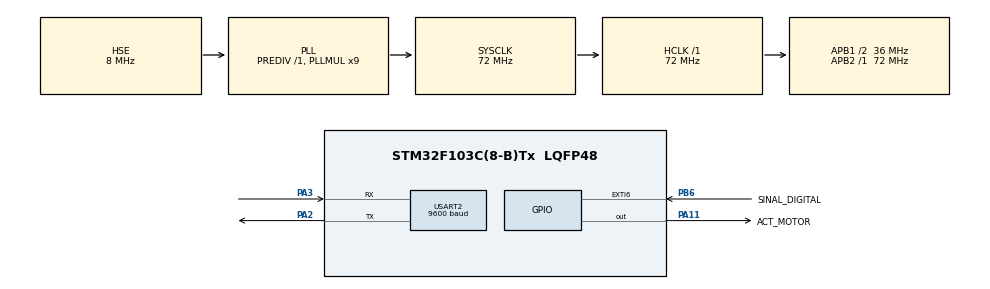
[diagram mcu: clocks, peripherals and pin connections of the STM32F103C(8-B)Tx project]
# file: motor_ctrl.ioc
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Mcu.Family=STM32F1
Mcu.Name=STM32F103C(8-B)Tx
Mcu.Package=LQFP48
NVIC.PriorityGroup=NVIC_PRIORITYGROUP_4
NVIC.TIM2_IRQn=true\:0\:0\:false\:false\:true\:true\:true\:true
PA11.GPIO_Label=ACT_MOTOR
PA11.Signal=GPIO_Output
PA2.Mode=Asynchronous
PA2.Signal=USART2_TX
PA3.Mode=Asynchronous
PA3.Signal=USART2_RX
PB6.GPIO_Label=SINAL_DIGITAL
PB6.GPIO_ModeDefaultEXTI=GPIO_MODE_IT_FALLING
PB6.Signal=GPXTI6
PD0-OSC_IN.Mode=HSE-External-Oscillator
PD0-OSC_IN.Signal=RCC_OSC_IN
PD1-OSC_OUT.Mode=HSE-External-Oscillator
PD1-OSC_OUT.Signal=RCC_OSC_OUT
ProjectManager.HeapSize=0x200
ProjectManager.StackSize=0x400
ProjectManager.TargetToolchain=CMake
RCC.AHBFreq_Value=72000000
RCC.APB1CLKDivider=RCC_HCLK_DIV2
RCC.APB1Freq_Value=36000000
RCC.APB1TimFreq_Value=72000000
RCC.APB2Freq_Value=72000000
RCC.APB2TimFreq_Value=72000000
RCC.HCLKFreq_Value=72000000
RCC.PLLMUL=RCC_PLL_MUL9
RCC.PLLSourceVirtual=RCC_PLLSOURCE_HSE
RCC.SYSCLKFreq_VALUE=72000000
RCC.SYSCLKSource=RCC_SYSCLKSOURCE_PLLCLK
RCC.USBFreq_Value=72000000
TIM2.Period=10000-1
TIM2.Prescaler=7200-1
USART2.BaudRate=9600
USART2.VirtualMode=VM_ASYNC
VP_SYS_VS_ND.Mode=No_Debug
VP_TIM2_VS_ClockSourceINT.Mode=Internal
board=custom

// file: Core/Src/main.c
/* USER CODE BEGIN Header */
/**
  ******************************************************************************
  * @file           : main.c
  * @brief          : Main program body
  ******************************************************************************
  * @attention
  *
  * Copyright (c) 2026 STMicroelectronics.
  * All rights reserved.
  *
  * This software is licensed under terms that can be found in the LICENSE file
  * in the root directory of this software component.
  * If no LICENSE file comes with this software, it is provided AS-IS.
  *
  ******************************************************************************
  */
/* USER CODE END Header */
#include "main.h"
#include "stm32f1xx_hal_uart.h"

/* USER CODE BEGIN PD */
#define MOTOR_ON  HAL_GPIO_WritePin(ACT_MOTOR_GPIO_Port, ACT_MOTOR_Pin, GPIO_PIN_SET)
#define MOTOR_OFF HAL_GPIO_WritePin(ACT_MOTOR_GPIO_Port, ACT_MOTOR_Pin, GPIO_PIN_RESET)
/* USER CODE END PD */

TIM_HandleTypeDef htim2;

UART_HandleTypeDef huart2;

/* USER CODE BEGIN PV */
uint8_t timeout = 0;
/* USER CODE END PV */

void SystemClock_Config(void);
static void MX_GPIO_Init(void);
static void MX_TIM2_Init(void);
static void MX_USART2_UART_Init(void);

/* USER CODE BEGIN 0 */
void HAL_TIM_PeriodElapsedCallback(TIM_HandleTypeDef *htim){
  if (htim->Instance == TIM2){ // Check if the interrupt is from TIM2
    if(++timeout == 10){  // 10 periods of 1 second each = 10 seconds
      HAL_UART_Transmit(&huart2, "Motor OFF", 9, HAL_MAX_DELAY);
      HAL_TIM_Base_Stop_IT(&htim2); // Stop TIM2 interrupt
      MOTOR_OFF;    // Deactivate motor
      timeout = 0;  // Reset timeout counter
    }
  }
}

void HAL_GPIO_EXTI_Callback(uint16_t GPIO_Pin){
  if (GPIO_Pin == SINAL_DIGITAL_Pin){ // Check if the interrupt is from SINAL_DIGITAL pin
    timeout = 0; // Reset timeout counter
    HAL_TIM_Base_Start_IT(&htim2); // Start TIM2 in interrupt mode
    HAL_UART_Transmit(&huart2, "Motor ON", 8, HAL_MAX_DELAY);
    MOTOR_ON; // Activate motor
  }
}
/* USER CODE END 0 */

int main(void)
{

  /* MCU Configuration--------------------------------------------------------*/

  /* Reset of all peripherals, Initializes the Flash interface and the Systick. */
  HAL_Init();

  /* Configure the system clock */
  SystemClock_Config();

  /* Initialize all configured peripherals */
  MX_GPIO_Init();
  MX_TIM2_Init();
  MX_USART2_UART_Init();

  /* Infinite loop */
  while (1)
  {

  }
}

void SystemClock_Config(void)
{
  RCC_OscInitTypeDef RCC_OscInitStruct = {0};
  RCC_ClkInitTypeDef RCC_ClkInitStruct = {0};

  /** Initializes the RCC Oscillators according to the specified parameters
  * in the RCC_OscInitTypeDef structure.
  */
  RCC_OscInitStruct.OscillatorType = RCC_OSCILLATORTYPE_HSE;
  RCC_OscInitStruct.HSEState = RCC_HSE_ON;
  RCC_OscInitStruct.HSEPredivValue = RCC_HSE_PREDIV_DIV1;
  RCC_OscInitStruct.HSIState = RCC_HSI_ON;
  RCC_OscInitStruct.PLL.PLLState = RCC_PLL_ON;
  RCC_OscInitStruct.PLL.PLLSource = RCC_PLLSOURCE_HSE;
  RCC_OscInitStruct.PLL.PLLMUL = RCC_PLL_MUL9;
  if (HAL_RCC_OscConfig(&RCC_OscInitStruct) != HAL_OK)
  {
    Error_Handler();
  }

  /** Initializes the CPU, AHB and APB buses clocks
  */
  RCC_ClkInitStruct.ClockType = RCC_CLOCKTYPE_HCLK|RCC_CLOCKTYPE_SYSCLK
                              |RCC_CLOCKTYPE_PCLK1|RCC_CLOCKTYPE_PCLK2;
  RCC_ClkInitStruct.SYSCLKSource = RCC_SYSCLKSOURCE_PLLCLK;
  RCC_ClkInitStruct.AHBCLKDivider = RCC_SYSCLK_DIV1;
  RCC_ClkInitStruct.APB1CLKDivider = RCC_HCLK_DIV2;
  RCC_ClkInitStruct.APB2CLKDivider = RCC_HCLK_DIV1;

  if (HAL_RCC_ClockConfig(&RCC_ClkInitStruct, FLASH_LATENCY_2) != HAL_OK)
  {
    Error_Handler();
  }
}

static void MX_TIM2_Init(void)
{

  TIM_ClockConfigTypeDef sClockSourceConfig = {0};
  TIM_MasterConfigTypeDef sMasterConfig = {0};

  htim2.Instance = TIM2;
  htim2.Init.Prescaler = 7200-1;
  htim2.Init.CounterMode = TIM_COUNTERMODE_UP;
  htim2.Init.Period = 10000-1;
  htim2.Init.ClockDivision = TIM_CLOCKDIVISION_DIV1;
  htim2.Init.AutoReloadPreload = TIM_AUTORELOAD_PRELOAD_DISABLE;
  if (HAL_TIM_Base_Init(&htim2) != HAL_OK)
  {
    Error_Handler();
  }
  sClockSourceConfig.ClockSource = TIM_CLOCKSOURCE_INTERNAL;
  if (HAL_TIM_ConfigClockSource(&htim2, &sClockSourceConfig) != HAL_OK)
  {
    Error_Handler();
  }
  sMasterConfig.MasterOutputTrigger = TIM_TRGO_RESET;
  sMasterConfig.MasterSlaveMode = TIM_MASTERSLAVEMODE_DISABLE;
  if (HAL_TIMEx_MasterConfigSynchronization(&htim2, &sMasterConfig) != HAL_OK)
  {
    Error_Handler();
  }

}

static void MX_USART2_UART_Init(void)
{

  huart2.Instance = USART2;
  huart2.Init.BaudRate = 9600;
  huart2.Init.WordLength = UART_WORDLENGTH_8B;
  huart2.Init.StopBits = UART_STOPBITS_1;
  huart2.Init.Parity = UART_PARITY_NONE;
  huart2.Init.Mode = UART_MODE_TX_RX;
  huart2.Init.HwFlowCtl = UART_HWCONTROL_NONE;
  huart2.Init.OverSampling = UART_OVERSAMPLING_16;
  if (HAL_UART_Init(&huart2) != HAL_OK)
  {
    Error_Handler();
  }

}

static void MX_GPIO_Init(void)
{
  GPIO_InitTypeDef GPIO_InitStruct = {0};

  /* GPIO Ports Clock Enable */
  __HAL_RCC_GPIOD_CLK_ENABLE();
  __HAL_RCC_GPIOA_CLK_ENABLE();
  __HAL_RCC_GPIOB_CLK_ENABLE();

  /*Configure GPIO pin Output Level */
  HAL_GPIO_WritePin(ACT_MOTOR_GPIO_Port, ACT_MOTOR_Pin, GPIO_PIN_RESET);

  /*Configure GPIO pin : ACT_MOTOR_Pin */
  GPIO_InitStruct.Pin = ACT_MOTOR_Pin;
  GPIO_InitStruct.Mode = GPIO_MODE_OUTPUT_PP;
  GPIO_InitStruct.Pull = GPIO_NOPULL;
  GPIO_InitStruct.Speed = GPIO_SPEED_FREQ_LOW;
  HAL_GPIO_Init(ACT_MOTOR_GPIO_Port, &GPIO_InitStruct);

  /*Configure GPIO pin : SINAL_DIGITAL_Pin */
  GPIO_InitStruct.Pin = SINAL_DIGITAL_Pin;
  GPIO_InitStruct.Mode = GPIO_MODE_IT_FALLING;
  GPIO_InitStruct.Pull = GPIO_NOPULL;
  HAL_GPIO_Init(SINAL_DIGITAL_GPIO_Port, &GPIO_InitStruct);

}

void Error_Handler(void)
{
  __disable_irq();
  while (1)
  {
  }
}
